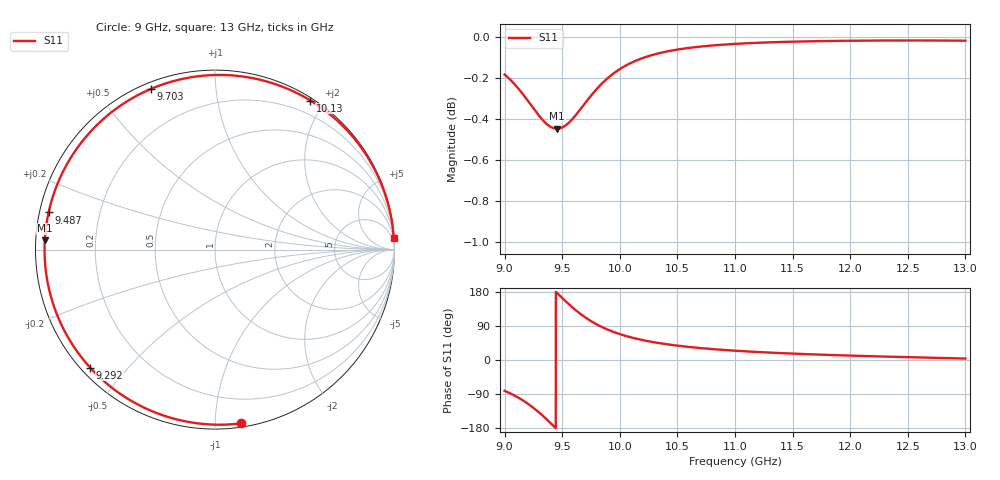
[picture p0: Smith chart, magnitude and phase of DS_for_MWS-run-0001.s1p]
! TOUCHSTONE file generated by CST DESIGN STUDIO
! Date and time: Tue Feb  4 13:52:36 2025
! Project name: C:\Work\MatlabApps\UnitCellOptimizationMatlab\CST\unitcell.cst
! Tree item: Tasks\Sweep1\SPara1\S-Parameters
! Header version: 2024
! Port assignment regex: !\s*Touchstone port\s*([0-9]+)\s*=\s*(CST MWS port|CST DES external port|CST DES block port)\s*(.+)\s* \(\"(.*)\"\)(\s*mode\s*([0-9]+))?.*
! Touchstone port assignment:
! Touchstone port 1 = CST DES external port 1 ("")
# GHz S MA R 50
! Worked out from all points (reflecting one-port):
!   4001 points, 9 GHz to 13 GHz, reference 50 ohm
!   lowest |S11| = -0.4 dB at 9.455 GHz (marker M1), VSWR 38.76, Z = 1.29 + j1.34 ohm
!   phase of S11 starts at -81 deg and turns -275 deg over the sweep
!   S11 on the Smith chart (normalised r, x): 9 GHz: 0.03, -1.16; 9.292 GHz: 0.03, -0.40; 9.487 GHz: 0.03, +0.11; 9.703 GHz: 0.03, +0.68; 10.13 GHz: 0.03, +1.83; 13 GHz: 1, +30
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9  0.979 -81.4
9.09  0.9734 -94.4
9.163  0.9679 -107.4
9.229  0.9624 -121.3
9.292  0.9572 -136.6
9.334  0.9541 -147.8
9.379  0.9515 -160.6
9.418  0.9501 -172.0
9.455  0.9497 176.9
9.487  0.95 167.4
9.5  0.9504 163.6
9.548  0.9524 149.8
9.603  0.9559 135.1
9.652  0.9597 123.1
9.703  0.9638 111.8
9.761  0.9683 100.6
9.826  0.9728 89.8
9.911  0.9778 78.2
10  0.9819 68.3
10.128  0.9863 57.4
10.295  0.9899 46.9
10.5  0.9927 37.9
10.723  0.9945 30.8
11  0.9959 24.5
11.5  0.9971 16.9
12  0.9976 11.6
12.5  0.9978 7.5
13  0.9977 3.8
